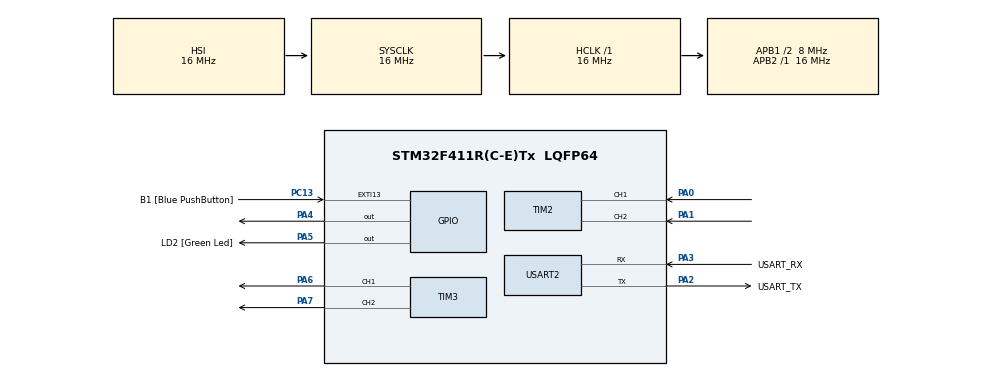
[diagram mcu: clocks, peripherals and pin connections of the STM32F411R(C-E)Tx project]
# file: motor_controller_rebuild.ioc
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Mcu.Family=STM32F4
Mcu.Name=STM32F411R(C-E)Tx
Mcu.Package=LQFP64
NVIC.PriorityGroup=NVIC_PRIORITYGROUP_0
NVIC.TIM4_IRQn=true\:0\:0\:true\:false\:true\:true\:true\:true
PA0-WKUP.Signal=S_TIM2_CH1_ETR
PA1.Signal=S_TIM2_CH2
PA13.GPIO_Label=TMS
PA13.Signal=SYS_JTMS-SWDIO
PA14.GPIO_Label=TCK
PA14.Signal=SYS_JTCK-SWCLK
PA2.GPIO_Label=USART_TX
PA2.Mode=Asynchronous
PA2.Signal=USART2_TX
PA3.GPIO_Label=USART_RX
PA3.Mode=Asynchronous
PA3.Signal=USART2_RX
PA4.Signal=GPIO_Output
PA5.GPIO_Label=LD2 [Green Led]
PA5.Signal=GPIO_Output
PA6.Signal=S_TIM3_CH1
PA7.Signal=S_TIM3_CH2
PB3.GPIO_Label=SWO
PB3.Signal=SYS_JTDO-SWO
PC13-ANTI_TAMP.GPIO_Label=B1 [Blue PushButton]
PC13-ANTI_TAMP.GPIO_ModeDefaultEXTI=GPIO_MODE_IT_FALLING
PC13-ANTI_TAMP.Signal=GPXTI13
PC14-OSC32_IN.Signal=RCC_OSC32_IN
PC15-OSC32_OUT.Signal=RCC_OSC32_OUT
PH0\ -\ OSC_IN.Signal=RCC_OSC_IN
PH1\ -\ OSC_OUT.Signal=RCC_OSC_OUT
ProjectManager.HeapSize=0x200
ProjectManager.StackSize=0x400
ProjectManager.TargetToolchain=STM32CubeIDE
RCC.48MHZClocksFreq_Value=84000000
RCC.AHBFreq_Value=16000000
RCC.APB1CLKDivider=RCC_HCLK_DIV2
RCC.APB1Freq_Value=8000000
RCC.APB1TimFreq_Value=16000000
RCC.APB2Freq_Value=16000000
RCC.APB2TimFreq_Value=16000000
RCC.CortexFreq_Value=16000000
RCC.FLatency-AdvancedSettings=FLASH_LATENCY_0
RCC.HCLKFreq_Value=16000000
RCC.HSE_VALUE=8000000
RCC.HSI_VALUE=16000000
RCC.LSE_VALUE=32768
RCC.PLLN=336
RCC.PLLP=RCC_PLLP_DIV4
RCC.SYSCLKFreq_VALUE=16000000
RCC.VCOOutputFreq_Value=336000000
SH.S_TIM2_CH1_ETR.0=TIM2_CH1,Encoder_Interface
SH.S_TIM2_CH2.0=TIM2_CH2,Encoder_Interface
SH.S_TIM3_CH1.0=TIM3_CH1,PWM Generation1 CH1
SH.S_TIM3_CH2.0=TIM3_CH2,PWM Generation2 CH2
TIM3.AutoReloadPreload=TIM_AUTORELOAD_PRELOAD_ENABLE
TIM3.Channel-PWM\ Generation1\ CH1=TIM_CHANNEL_1
TIM3.Channel-PWM\ Generation2\ CH2=TIM_CHANNEL_2
TIM3.TIM_MasterOutputTrigger=TIM_TRGO_UPDATE
USART2.VirtualMode=VM_ASYNC
VP_TIM3_VS_ClockSourceINT.Mode=Internal
VP_TIM4_VS_ClockSourceINT.Mode=Internal
board=NUCLEO-F411RE

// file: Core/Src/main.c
/* USER CODE BEGIN Header */
/**
  ******************************************************************************
  * @file           : main.c
  * @brief          : Main program body
  ******************************************************************************
  * @attention
  *
  * Copyright (c) 2026 STMicroelectronics.
  * All rights reserved.
  *
  * This software is licensed under terms that can be found in the LICENSE file
  * in the root directory of this software component.
  * If no LICENSE file comes with this software, it is provided AS-IS.
  *
  ******************************************************************************
  */
/* USER CODE END Header */
#include "main.h"

/* USER CODE BEGIN Includes */
#include <stdio.h>
#include "motor.h"
#include "encoder_driver.h"
#include "control_loop.h"
#include "uart_driver.h"

/* USER CODE END Includes */

TIM_HandleTypeDef htim2;
TIM_HandleTypeDef htim3;
TIM_HandleTypeDef htim4;

UART_HandleTypeDef huart2;

/* USER CODE BEGIN PV */

uart_t u = {
		  .uartTD = USART2,
		  .rx_head = 0,
		  .rx_tail = 0,
		  .tx_head = 0,
		  .tx_tail = 0
};
volatile uint8_t control_flag = 0;

/* USER CODE END PV */

void SystemClock_Config(void);
static void MX_GPIO_Init(void);
static void MX_TIM3_Init(void);
static void MX_TIM2_Init(void);
static void MX_USART2_UART_Init(void);
static void MX_TIM4_Init(void);

int main(void)
{

  /* MCU Configuration--------------------------------------------------------*/

  /* Reset of all peripherals, Initializes the Flash interface and the Systick. */
  HAL_Init();

  /* Configure the system clock */
  SystemClock_Config();

  /* Initialize all configured peripherals */
  MX_GPIO_Init();
  MX_TIM3_Init();
  MX_TIM2_Init();
  MX_USART2_UART_Init();
  MX_TIM4_Init();
  /* USER CODE BEGIN 2 */

  uart_cfg(&u);
  control_cfg_all();

  /* USER CODE END 2 */

  /* Infinite loop */
  while (1)
  {
	  if (control_flag == 1) {
		  control_flag = 0;

		  control_loop();
	  }
  }
}

void SystemClock_Config(void)
{
  RCC_OscInitTypeDef RCC_OscInitStruct = {0};
  RCC_ClkInitTypeDef RCC_ClkInitStruct = {0};

  /** Configure the main internal regulator output voltage
  */
  __HAL_RCC_PWR_CLK_ENABLE();
  __HAL_PWR_VOLTAGESCALING_CONFIG(PWR_REGULATOR_VOLTAGE_SCALE1);

  /** Initializes the RCC Oscillators according to the specified parameters
  * in the RCC_OscInitTypeDef structure.
  */
  RCC_OscInitStruct.OscillatorType = RCC_OSCILLATORTYPE_HSI;
  RCC_OscInitStruct.HSIState = RCC_HSI_ON;
  RCC_OscInitStruct.HSICalibrationValue = RCC_HSICALIBRATION_DEFAULT;
  RCC_OscInitStruct.PLL.PLLState = RCC_PLL_NONE;
  if (HAL_RCC_OscConfig(&RCC_OscInitStruct) != HAL_OK)
  {
    Error_Handler();
  }

  /** Initializes the CPU, AHB and APB buses clocks
  */
  RCC_ClkInitStruct.ClockType = RCC_CLOCKTYPE_HCLK|RCC_CLOCKTYPE_SYSCLK
                              |RCC_CLOCKTYPE_PCLK1|RCC_CLOCKTYPE_PCLK2;
  RCC_ClkInitStruct.SYSCLKSource = RCC_SYSCLKSOURCE_HSI;
  RCC_ClkInitStruct.AHBCLKDivider = RCC_SYSCLK_DIV1;
  RCC_ClkInitStruct.APB1CLKDivider = RCC_HCLK_DIV2;
  RCC_ClkInitStruct.APB2CLKDivider = RCC_HCLK_DIV1;

  if (HAL_RCC_ClockConfig(&RCC_ClkInitStruct, FLASH_LATENCY_0) != HAL_OK)
  {
    Error_Handler();
  }
}

static void MX_TIM2_Init(void)
{

  TIM_Encoder_InitTypeDef sConfig = {0};
  TIM_MasterConfigTypeDef sMasterConfig = {0};

  htim2.Instance = TIM2;
  htim2.Init.Prescaler = 0;
  htim2.Init.CounterMode = TIM_COUNTERMODE_UP;
  htim2.Init.Period = 4294967295;
  htim2.Init.ClockDivision = TIM_CLOCKDIVISION_DIV1;
  htim2.Init.AutoReloadPreload = TIM_AUTORELOAD_PRELOAD_DISABLE;
  sConfig.EncoderMode = TIM_ENCODERMODE_TI1;
  sConfig.IC1Polarity = TIM_ICPOLARITY_RISING;
  sConfig.IC1Selection = TIM_ICSELECTION_DIRECTTI;
  sConfig.IC1Prescaler = TIM_ICPSC_DIV1;
  sConfig.IC1Filter = 0;
  sConfig.IC2Polarity = TIM_ICPOLARITY_RISING;
  sConfig.IC2Selection = TIM_ICSELECTION_DIRECTTI;
  sConfig.IC2Prescaler = TIM_ICPSC_DIV1;
  sConfig.IC2Filter = 0;
  if (HAL_TIM_Encoder_Init(&htim2, &sConfig) != HAL_OK)
  {
    Error_Handler();
  }
  sMasterConfig.MasterOutputTrigger = TIM_TRGO_RESET;
  sMasterConfig.MasterSlaveMode = TIM_MASTERSLAVEMODE_DISABLE;
  if (HAL_TIMEx_MasterConfigSynchronization(&htim2, &sMasterConfig) != HAL_OK)
  {
    Error_Handler();
  }

}

static void MX_TIM3_Init(void)
{

  TIM_ClockConfigTypeDef sClockSourceConfig = {0};
  TIM_MasterConfigTypeDef sMasterConfig = {0};
  TIM_OC_InitTypeDef sConfigOC = {0};

  htim3.Instance = TIM3;
  htim3.Init.Prescaler = 0;
  htim3.Init.CounterMode = TIM_COUNTERMODE_UP;
  htim3.Init.Period = 65535;
  htim3.Init.ClockDivision = TIM_CLOCKDIVISION_DIV1;
  htim3.Init.AutoReloadPreload = TIM_AUTORELOAD_PRELOAD_ENABLE;
  if (HAL_TIM_Base_Init(&htim3) != HAL_OK)
  {
    Error_Handler();
  }
  sClockSourceConfig.ClockSource = TIM_CLOCKSOURCE_INTERNAL;
  if (HAL_TIM_ConfigClockSource(&htim3, &sClockSourceConfig) != HAL_OK)
  {
    Error_Handler();
  }
  if (HAL_TIM_PWM_Init(&htim3) != HAL_OK)
  {
    Error_Handler();
  }
  sMasterConfig.MasterOutputTrigger = TIM_TRGO_UPDATE;
  sMasterConfig.MasterSlaveMode = TIM_MASTERSLAVEMODE_DISABLE;
  if (HAL_TIMEx_MasterConfigSynchronization(&htim3, &sMasterConfig) != HAL_OK)
  {
    Error_Handler();
  }
  sConfigOC.OCMode = TIM_OCMODE_PWM1;
  sConfigOC.Pulse = 0;
  sConfigOC.OCPolarity = TIM_OCPOLARITY_HIGH;
  sConfigOC.OCFastMode = TIM_OCFAST_DISABLE;
  if (HAL_TIM_PWM_ConfigChannel(&htim3, &sConfigOC, TIM_CHANNEL_1) != HAL_OK)
  {
    Error_Handler();
  }
  if (HAL_TIM_PWM_ConfigChannel(&htim3, &sConfigOC, TIM_CHANNEL_2) != HAL_OK)
  {
    Error_Handler();
  }
  HAL_TIM_MspPostInit(&htim3);

}

static void MX_TIM4_Init(void)
{

  TIM_ClockConfigTypeDef sClockSourceConfig = {0};
  TIM_MasterConfigTypeDef sMasterConfig = {0};

  htim4.Instance = TIM4;
  htim4.Init.Prescaler = 0;
  htim4.Init.CounterMode = TIM_COUNTERMODE_UP;
  htim4.Init.Period = 65535;
  htim4.Init.ClockDivision = TIM_CLOCKDIVISION_DIV1;
  htim4.Init.AutoReloadPreload = TIM_AUTORELOAD_PRELOAD_DISABLE;
  if (HAL_TIM_Base_Init(&htim4) != HAL_OK)
  {
    Error_Handler();
  }
  sClockSourceConfig.ClockSource = TIM_CLOCKSOURCE_INTERNAL;
  if (HAL_TIM_ConfigClockSource(&htim4, &sClockSourceConfig) != HAL_OK)
  {
    Error_Handler();
  }
  sMasterConfig.MasterOutputTrigger = TIM_TRGO_RESET;
  sMasterConfig.MasterSlaveMode = TIM_MASTERSLAVEMODE_DISABLE;
  if (HAL_TIMEx_MasterConfigSynchronization(&htim4, &sMasterConfig) != HAL_OK)
  {
    Error_Handler();
  }

}

static void MX_USART2_UART_Init(void)
{

  huart2.Instance = USART2;
  huart2.Init.BaudRate = 115200;
  huart2.Init.WordLength = UART_WORDLENGTH_8B;
  huart2.Init.StopBits = UART_STOPBITS_1;
  huart2.Init.Parity = UART_PARITY_NONE;
  huart2.Init.Mode = UART_MODE_TX_RX;
  huart2.Init.HwFlowCtl = UART_HWCONTROL_NONE;
  huart2.Init.OverSampling = UART_OVERSAMPLING_16;
  if (HAL_UART_Init(&huart2) != HAL_OK)
  {
    Error_Handler();
  }

}

static void MX_GPIO_Init(void)
{
  GPIO_InitTypeDef GPIO_InitStruct = {0};

  /* GPIO Ports Clock Enable */
  __HAL_RCC_GPIOC_CLK_ENABLE();
  __HAL_RCC_GPIOH_CLK_ENABLE();
  __HAL_RCC_GPIOA_CLK_ENABLE();
  __HAL_RCC_GPIOB_CLK_ENABLE();

  /*Configure GPIO pin Output Level */
  HAL_GPIO_WritePin(GPIOA, GPIO_PIN_4|LD2_Pin, GPIO_PIN_RESET);

  /*Configure GPIO pin : B1_Pin */
  GPIO_InitStruct.Pin = B1_Pin;
  GPIO_InitStruct.Mode = GPIO_MODE_IT_FALLING;
  GPIO_InitStruct.Pull = GPIO_NOPULL;
  HAL_GPIO_Init(B1_GPIO_Port, &GPIO_InitStruct);

  /*Configure GPIO pins : PA4 LD2_Pin */
  GPIO_InitStruct.Pin = GPIO_PIN_4|LD2_Pin;
  GPIO_InitStruct.Mode = GPIO_MODE_OUTPUT_PP;
  GPIO_InitStruct.Pull = GPIO_NOPULL;
  GPIO_InitStruct.Speed = GPIO_SPEED_FREQ_LOW;
  HAL_GPIO_Init(GPIOA, &GPIO_InitStruct);

}

void Error_Handler(void)
{
  __disable_irq();
  while (1)
  {
  }
}
